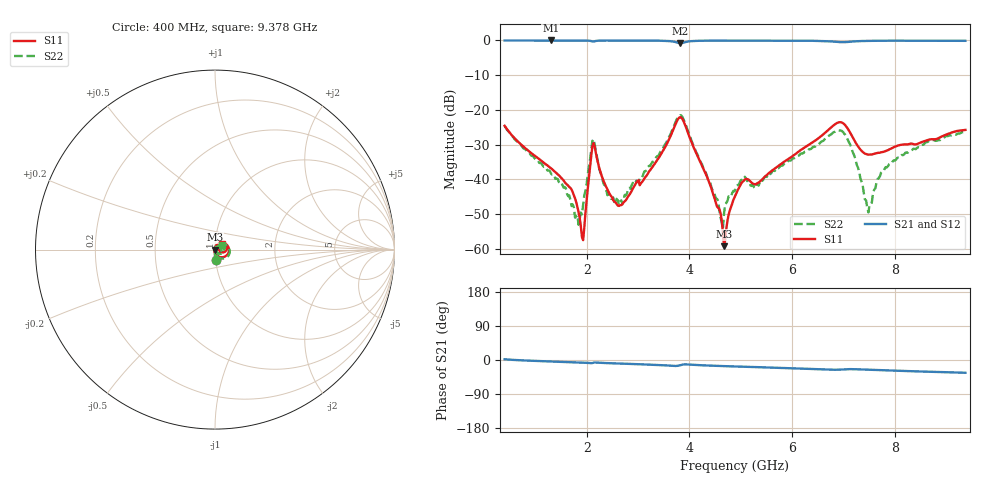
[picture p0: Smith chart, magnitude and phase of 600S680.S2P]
!  American Technical Ceramics  Date:  11/6/2006
!  One Norden Lane
!  Huntington Station,  NY.  11746-2102
!  Tel:  (631) 622-4700  Fax:  (631) 622-4748
!  Part Number  600S680FT  Mounting Orientation: Horizontal
!  Description: Ultra Low ESR Microwave capacitors
!  Application: Coupling, Bypass, Tuning, DC Block
!  Filters, Matching
# GHZ S DB R 50
! Freq  |S11|  S11 Ph  |S21|  S21 Ph  |S12|  S12 Ph  |S22|  S22 Ph
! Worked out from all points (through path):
!   400 points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, 400 MHz to 9.378 GHz, reference 50 ohm
!   highest |S21| = -0.01 dB at 1.3 GHz (marker M1); lowest = -0.8 dB at 3.82 GHz (marker M2)
!   group delay of S21, straight-line fit = 10.2 ps
!   lowest |S11| = -59.3 dB at 4.675 GHz (marker M3), VSWR 1.00, Z = 49.9 + j0.0216 ohm
!   |S11| at or under -10 dB: start of sweep to end of sweep
!   |S22| runs from -54.3 to -21.5 dB; largest |S21 - S12| = 0.0012
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0.4  -24.59 -86.5  -0.03 1.9  -0.03 1.9  -24.63 -86.9
1.3  -36.78 -94.1  -0.01 -3.9  -0.01 -3.9  -38.23 -90.8
1.705  -42.97 -106.3  -0.02 -5.8  -0.02 -5.8  -47.71 -74.6
1.84  -49.38 -124.0  -0.02 -6.5  -0.02 -6.5  -53.11 -29.4
1.908  -56.70 -167.7  -0.03 -6.9  -0.03 -6.9  -50.08 14.4
1.93  -57.53 148.8  -0.03 -7.0  -0.03 -7.0  -47.41 35.2
2.133  -29.61 -20.9  -0.33 -7.2  -0.33 -7.2  -28.43 -21.9
2.403  -42.93 -119.9  -0.04 -8.3  -0.03 -8.3  -44.58 -57.6
2.628  -47.68 -174.4  -0.04 -9.3  -0.04 -9.3  -47.36 -14.2
3.393  -34.04 79.5  -0.07 -13.2  -0.07 -13.2  -33.28 47.5
3.82  -22.10 -2.7  -0.78 -13.9  -0.78 -13.9  -21.52 -12.5
4.585  -48.63 -90.6  -0.06 -15.8  -0.06 -15.9  -49.11 -53.3
4.653  -55.37 -138.9  -0.07 -16.1  -0.07 -16.1  -54.28 4.8
4.675  -59.27 168.5  -0.07 -16.2  -0.07 -16.2  -49.84 30.9
4.9  -44.50 55.4  -0.06 -17.3  -0.06 -17.3  -42.80 43.7
6.408  -29.30 49.6  -0.11 -23.7  -0.10 -23.8  -30.72 56.8
6.993  -23.83 -0.4  -0.51 -24.8  -0.51 -24.8  -26.37 -16.6
7.218  -28.87 -22.0  -0.27 -24.3  -0.27 -24.3  -33.35 -56.4
7.488  -32.89 2.5  -0.14 -25.7  -0.14 -25.7  -49.55 3.2
7.668  -32.40 16.8  -0.11 -26.6  -0.10 -26.6  -39.86 52.8
7.893  -31.40 28.7  -0.08 -27.6  -0.08 -27.6  -35.64 52.4
9.378  -25.78 38.3  -0.12 -33.7  -0.11 -33.7  -26.14 34.5
